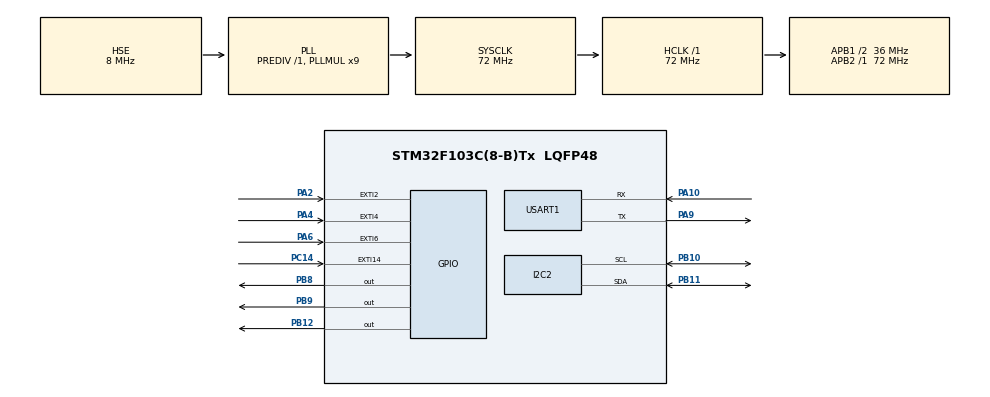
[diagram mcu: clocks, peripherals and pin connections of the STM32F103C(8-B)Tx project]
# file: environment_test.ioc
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Dma.I2C2_RX.0.Direction=DMA_PERIPH_TO_MEMORY
Dma.I2C2_RX.0.Instance=DMA1_Channel5
Dma.I2C2_RX.0.MemDataAlignment=DMA_MDATAALIGN_BYTE
Dma.I2C2_RX.0.MemInc=DMA_MINC_ENABLE
Dma.I2C2_RX.0.Mode=DMA_NORMAL
Dma.I2C2_RX.0.PeriphDataAlignment=DMA_PDATAALIGN_BYTE
Dma.I2C2_RX.0.PeriphInc=DMA_PINC_DISABLE
Dma.I2C2_RX.0.Priority=DMA_PRIORITY_LOW
Dma.I2C2_TX.1.Direction=DMA_MEMORY_TO_PERIPH
Dma.I2C2_TX.1.Instance=DMA1_Channel4
Dma.I2C2_TX.1.MemDataAlignment=DMA_MDATAALIGN_BYTE
Dma.I2C2_TX.1.MemInc=DMA_MINC_ENABLE
Dma.I2C2_TX.1.Mode=DMA_NORMAL
Dma.I2C2_TX.1.PeriphDataAlignment=DMA_PDATAALIGN_BYTE
Dma.I2C2_TX.1.PeriphInc=DMA_PINC_DISABLE
Dma.I2C2_TX.1.Priority=DMA_PRIORITY_LOW
Dma.Request0=I2C2_RX
Dma.Request1=I2C2_TX
Mcu.Family=STM32F1
Mcu.Name=STM32F103C(8-B)Tx
Mcu.Package=LQFP48
NVIC.DMA1_Channel4_IRQn=true\:0\:0\:false\:false\:true\:false\:true\:true
NVIC.DMA1_Channel5_IRQn=true\:0\:0\:false\:false\:true\:false\:true\:true
NVIC.EXTI15_10_IRQn=true\:0\:0\:false\:false\:true\:true\:true\:true
NVIC.EXTI2_IRQn=true\:2\:0\:true\:false\:true\:true\:true\:true
NVIC.EXTI4_IRQn=true\:2\:0\:true\:false\:true\:true\:true\:true
NVIC.EXTI9_5_IRQn=true\:2\:0\:true\:false\:true\:true\:true\:true
NVIC.I2C2_EV_IRQn=true\:0\:0\:false\:false\:true\:true\:true\:true
NVIC.PriorityGroup=NVIC_PRIORITYGROUP_4
NVIC.TIM2_IRQn=true\:0\:0\:false\:false\:true\:true\:true\:true
NVIC.USART1_IRQn=true\:0\:0\:false\:false\:true\:true\:true\:true
PA10.Mode=Asynchronous
PA10.Signal=USART1_RX
PA13.Mode=Serial_Wire
PA13.Signal=SYS_JTMS-SWDIO
PA14.Mode=Serial_Wire
PA14.Signal=SYS_JTCK-SWCLK
PA2.GPIO_PuPd=GPIO_PULLDOWN
PA2.Signal=GPXTI2
PA4.GPIO_PuPd=GPIO_PULLDOWN
PA4.Signal=GPXTI4
PA6.GPIO_ModeDefaultEXTI=GPIO_MODE_IT_RISING
PA6.GPIO_PuPd=GPIO_PULLDOWN
PA6.Signal=GPXTI6
PA9.Mode=Asynchronous
PA9.Signal=USART1_TX
PB10.Mode=I2C
PB10.Signal=I2C2_SCL
PB11.Mode=I2C
PB11.Signal=I2C2_SDA
PB12.Signal=GPIO_Output
PB8.GPIO_ModeDefaultOutputPP=GPIO_MODE_OUTPUT_OD
PB8.GPIO_PuPd=GPIO_NOPULL
PB8.PinState=GPIO_PIN_SET
PB8.Signal=GPIO_Output
PB9.GPIO_ModeDefaultOutputPP=GPIO_MODE_OUTPUT_OD
PB9.GPIO_PuPd=GPIO_NOPULL
PB9.PinState=GPIO_PIN_SET
PB9.Signal=GPIO_Output
PC14-OSC32_IN.GPIO_PuPd=GPIO_PULLDOWN
PC14-OSC32_IN.Signal=GPXTI14
PD0-OSC_IN.Mode=HSE-External-Oscillator
PD0-OSC_IN.Signal=RCC_OSC_IN
PD1-OSC_OUT.Mode=HSE-External-Oscillator
PD1-OSC_OUT.Signal=RCC_OSC_OUT
ProjectManager.HeapSize=0x200
ProjectManager.StackSize=0x400
ProjectManager.TargetToolchain=MDK-ARM V5.32
RCC.AHBFreq_Value=72000000
RCC.APB1CLKDivider=RCC_HCLK_DIV2
RCC.APB1Freq_Value=36000000
RCC.APB1TimFreq_Value=72000000
RCC.APB2Freq_Value=72000000
RCC.APB2TimFreq_Value=72000000
RCC.HCLKFreq_Value=72000000
RCC.PLLMUL=RCC_PLL_MUL9
RCC.PLLSourceVirtual=RCC_PLLSOURCE_HSE
RCC.SYSCLKFreq_VALUE=72000000
RCC.SYSCLKSource=RCC_SYSCLKSOURCE_PLLCLK
RCC.USBFreq_Value=72000000
TIM2.Period=4999
TIM2.Prescaler=7199
USART1.VirtualMode=VM_ASYNC
VP_TIM2_VS_ClockSourceINT.Mode=Internal
board=custom

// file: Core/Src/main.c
/* USER CODE BEGIN Header */
/**
  ******************************************************************************
  * @file           : main.c
  * @brief          : Main program body
  ******************************************************************************
  * @attention
  *
  * Copyright (c) 2026 STMicroelectronics.
  * All rights reserved.
  *
  * This software is licensed under terms that can be found in the LICENSE file
  * in the root directory of this software component.
  * If no LICENSE file comes with this software, it is provided AS-IS.
  *
  ******************************************************************************
  */
/* USER CODE END Header */
#include "main.h"
#include "dma.h"
#include "i2c.h"
#include "tim.h"
#include "usart.h"
#include "gpio.h"

/* USER CODE BEGIN Includes */
#include "tem_hum_press.h"
#include "key_control.h"
#include "alarm.h"
#include "usart_transmit.h"
#include "OLED_hal.h"
#include "OLED_hal_font.h"
/* USER CODE END Includes */

void SystemClock_Config(void);

/* USER CODE BEGIN 0 */
extern I2C_HandleTypeDef hi2c2;
extern UART_HandleTypeDef huart1;
 uint32_t last_display_tick = 0; // 屏幕刷新定时器
/* USER CODE END 0 */

int main(void)
{

  /* MCU Configuration--------------------------------------------------------*/

  /* Reset of all peripherals, Initializes the Flash interface and the Systick. */
  HAL_Init();

  /* Configure the system clock */
  SystemClock_Config();

  /* Initialize all configured peripherals */
  MX_GPIO_Init();
  MX_DMA_Init();
  MX_I2C2_Init();
  MX_TIM2_Init();
  MX_USART1_UART_Init();
  /* USER CODE BEGIN 2 */
  HAL_UART_Transmit(&huart1, (uint8_t*)"\r\n--- System Boot ---\r\n", 24, 100);
  AlarmData.temp = 15.0f;
  AlarmData.hum = 70.0f;
  AlarmData.press= 1.02f;

  AHT20_Init();
	BMP280_Init(&hi2c2);
	OLED_Init();
	OLED_Clear();
  uint32_t last_aht20_tick = 0;
  uint32_t last_bmp280_tick = 0;
  uint8_t last_state = 0;
  /* USER CODE END 2 */

  /* Infinite loop */
  while (1)
  {

    /* USER CODE BEGIN 3 */

    // 状态机后台任务,用来进行任务的切换
    Sensor_Task();
		KEY_Scan();
		alarm_check();
    // 2. 定时触发任务
    uint32_t current_tick = HAL_GetTick();

    if (current_tick - last_aht20_tick >= 500)
    {
        last_aht20_tick = current_tick;
        GetAHT20Value();
    }

    if (current_tick - last_bmp280_tick >= 700)
    {
        last_bmp280_tick = current_tick;
        GetBMP280Value();
    }

//    // 3. 状态打印（调试用，可以看它一步步走）
//    if (i2c_state != last_state)
//    {
//        last_state = i2c_state;
//        uart_send_str("State->");
//        uart_send_int(i2c_state);
//        uart_send_str("\r\n");
//    }

    // 4. 数据就绪打印
//    if (sensor_data.new_data_flag == 1)
//    {
//        sensor_data.new_data_flag = 0;
//        uart_send_str("Data Ready: ");
//        uart_send_int(sensor_data.temp);
//        uart_send_str("C, ");
//        uart_send_int(sensor_data.hum);
//        uart_send_str("%, ");
//        uart_send_int(sensor_data.press * 1000); // 放大看气压
//        uart_send_str("atm\r\n");
//    }
    if (current_tick - last_display_tick >= 800)
    {
        last_display_tick = current_tick;
        InterfaceChange();
			if (Interface == interface_alarm)
			{
				Alarm_Interface_Refresh();
			}
    }

	}
  /* USER CODE END 3 */
}

void SystemClock_Config(void)
{
  RCC_OscInitTypeDef RCC_OscInitStruct = {0};
  RCC_ClkInitTypeDef RCC_ClkInitStruct = {0};

  /** Initializes the RCC Oscillators according to the specified parameters
  * in the RCC_OscInitTypeDef structure.
  */
  RCC_OscInitStruct.OscillatorType = RCC_OSCILLATORTYPE_HSE;
  RCC_OscInitStruct.HSEState = RCC_HSE_ON;
  RCC_OscInitStruct.HSEPredivValue = RCC_HSE_PREDIV_DIV1;
  RCC_OscInitStruct.HSIState = RCC_HSI_ON;
  RCC_OscInitStruct.PLL.PLLState = RCC_PLL_ON;
  RCC_OscInitStruct.PLL.PLLSource = RCC_PLLSOURCE_HSE;
  RCC_OscInitStruct.PLL.PLLMUL = RCC_PLL_MUL9;
  if (HAL_RCC_OscConfig(&RCC_OscInitStruct) != HAL_OK)
  {
    Error_Handler();
  }

  /** Initializes the CPU, AHB and APB buses clocks
  */
  RCC_ClkInitStruct.ClockType = RCC_CLOCKTYPE_HCLK|RCC_CLOCKTYPE_SYSCLK
                              |RCC_CLOCKTYPE_PCLK1|RCC_CLOCKTYPE_PCLK2;
  RCC_ClkInitStruct.SYSCLKSource = RCC_SYSCLKSOURCE_PLLCLK;
  RCC_ClkInitStruct.AHBCLKDivider = RCC_SYSCLK_DIV1;
  RCC_ClkInitStruct.APB1CLKDivider = RCC_HCLK_DIV2;
  RCC_ClkInitStruct.APB2CLKDivider = RCC_HCLK_DIV1;

  if (HAL_RCC_ClockConfig(&RCC_ClkInitStruct, FLASH_LATENCY_2) != HAL_OK)
  {
    Error_Handler();
  }
}

/* USER CODE BEGIN 4 */
// 回调函数
void HAL_I2C_MemTxCpltCallback(I2C_HandleTypeDef *hi2c)
{
    if(hi2c->Instance == I2C2) i2c_state = I2C_WAIT_TX_CPLT;
}

void HAL_I2C_MemRxCpltCallback(I2C_HandleTypeDef *hi2c)
{
    if(hi2c->Instance == I2C2) i2c_state = I2C_PROCESS_DATA;
}

void HAL_I2C_MasterTxCpltCallback(I2C_HandleTypeDef *hi2c)
{
    if(hi2c->Instance == I2C2) i2c_state = I2C_WAIT_TX_CPLT;
}

void HAL_I2C_MasterRxCpltCallback(I2C_HandleTypeDef *hi2c)
{
    if(hi2c->Instance == I2C2) i2c_state = I2C_PROCESS_DATA;
}
/* USER CODE END 4 */

void Error_Handler(void)
{
  __disable_irq();
  while (1)
  {
  }
}
